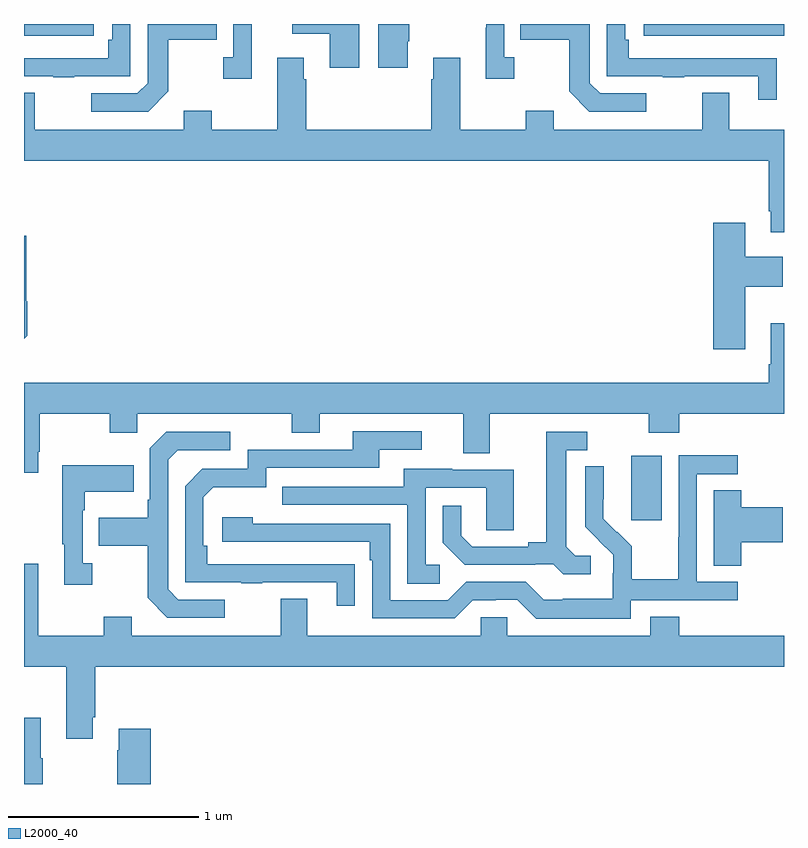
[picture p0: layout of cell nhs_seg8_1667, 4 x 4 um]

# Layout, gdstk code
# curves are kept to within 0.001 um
import gdstk
lib = gdstk.Library(unit=1e-6, precision=1e-09)
def R(c, l, rs):  # rectangles x0, y0, x1, y1
    for r in rs: c.add(gdstk.rectangle(r[:2], r[2:], *l))
def P(c, l, *ps):  # polygons
    for p in ps: c.add(gdstk.Polygon(p, *l))
L2000_40 = (2000, 40)

nhs_seg8_1667 = lib.new_cell('nhs_seg8_1667')
R(nhs_seg8_1667, L2000_40, [(220.196,1101.288,220.357,1101.628), (217,1103.838,217.366,1103.9), (220.263,1103.838,221,1103.9)])
P(nhs_seg8_1667, L2000_40, [(218.198,1103.9),(218.1,1103.9),(218.1,1103.726),(218.049,1103.726),(218.049,1103.613),(218.198,1103.613)],
  [(217.759,1103.545),(217.759,1103.818),(218.015,1103.818),(218.015,1103.9),(217.65,1103.9),(217.65,1103.589),(217.596,1103.535),(217.353,1103.535),(217.353,1103.439),(217.653,1103.439)],
  [(219.019,1103.809),(219.027,1103.809),(219.027,1103.9),(218.864,1103.9),(218.864,1103.67),(219.019,1103.67)],
  [(219.58,1103.726),(219.528,1103.726),(219.528,1103.9),(219.432,1103.9),(219.432,1103.879),(219.431,1103.879),(219.431,1103.613),(219.58,1103.613)],
  [(218.764,1103.9),(218.412,1103.9),(218.412,1103.849),(218.609,1103.849),(218.609,1103.67),(218.764,1103.67)],
  [(220.276,1103.535),(220.032,1103.535),(219.978,1103.589),(219.978,1103.9),(219.613,1103.9),(219.613,1103.818),(219.87,1103.818),(219.87,1103.545),(219.975,1103.439),(220.276,1103.439)],
  [(220.961,1103.72),(220.859,1103.72),(220.859,1103.721),(220.184,1103.721),(220.184,1103.818),(220.164,1103.818),(220.164,1103.9),(220.068,1103.9),(220.068,1103.625),(220.363,1103.625),(220.363,1103.62),(220.475,1103.62),(220.475,1103.625),(220.865,1103.625),(220.865,1103.502),(220.961,1103.502)],
  [(217.265,1103.625),(217.56,1103.625),(217.56,1103.9),(217.464,1103.9),(217.464,1103.818),(217.444,1103.818),(217.444,1103.721),(217,1103.721),(217,1103.625),(217.153,1103.625),(217.153,1103.62),(217.265,1103.62)],
  [(220.711,1103.539),(220.571,1103.539),(220.571,1103.344),(219.787,1103.344),(219.787,1103.443),(219.64,1103.443),(219.64,1103.344),(219.295,1103.344),(219.295,1103.722),(219.155,1103.722),(219.155,1103.609),(219.143,1103.609),(219.143,1103.344),(218.486,1103.344),(218.486,1103.609),(218.473,1103.609),(218.473,1103.722),(218.333,1103.722),(218.333,1103.344),(217.989,1103.344),(217.989,1103.443),(217.841,1103.443),(217.841,1103.344),(217.057,1103.344),(217.057,1103.539),(217,1103.539),(217,1103.18),(220.919,1103.18),(220.919,1102.915),(220.931,1102.915),(220.931,1102.803),(221,1102.803),(221,1103.344),(220.711,1103.344)],
  [(220.795,1102.517),(220.993,1102.517),(220.993,1102.675),(220.795,1102.675),(220.795,1102.855),(220.628,1102.855),(220.628,1102.188),(220.795,1102.188)],
  [(217.016,1102.26),(217.016,1102.442),(217.013,1102.442),(217.013,1102.785),(217,1102.785),(217,1102.244)],
  [(217.075,1101.649),(217.083,1101.649),(217.083,1101.848),(217.45,1101.848),(217.45,1101.749),(217.596,1101.749),(217.596,1101.848),(218.41,1101.848),(218.41,1101.749),(218.557,1101.749),(218.557,1101.848),(219.311,1101.848),(219.311,1101.64),(219.451,1101.64),(219.451,1101.848),(220.288,1101.848),(220.288,1101.749),(220.448,1101.749),(220.448,1101.848),(221,1101.848),(221,1102.324),(220.931,1102.324),(220.931,1102.108),(220.919,1102.108),(220.919,1102.012),(217,1102.012),(217,1101.537),(217.075,1101.537)],
  [(218.741,1101.056),(217.964,1101.057),(217.964,1101.154),(217.944,1101.154),(217.944,1101.408),(217.997,1101.461),(218.274,1101.461),(218.274,1101.564),(218.869,1101.564),(218.869,1101.66),(219.094,1101.66),(219.094,1101.756),(218.729,1101.756),(218.729,1101.66),(218.178,1101.66),(218.178,1101.558),(217.938,1101.558),(217.848,1101.468),(217.848,1100.961),(218.143,1100.961),(218.143,1100.956),(218.255,1100.956),(218.255,1100.961),(218.645,1100.961),(218.645,1100.838),(218.741,1100.838)],
  [(219.982,1101.102),(219.9,1101.102),(219.853,1101.149),(219.853,1101.657),(219.964,1101.657),(219.964,1101.753),(219.749,1101.753),(219.749,1101.173),(219.653,1101.173),(219.653,1101.15),(219.358,1101.15),(219.301,1101.207),(219.301,1101.364),(219.204,1101.364),(219.204,1101.17),(219.32,1101.054),(219.692,1101.054),(219.692,1101.057),(219.786,1101.057),(219.838,1101.005),(219.982,1101.005)],
  [(218.056,1100.871),(217.812,1100.871),(217.758,1100.925),(217.758,1101.606),(217.809,1101.657),(218.086,1101.657),(218.086,1101.753),(217.749,1101.753),(217.662,1101.666),(217.662,1101.397),(217.65,1101.397),(217.65,1101.301),(217.393,1101.301),(217.393,1101.154),(217.65,1101.154),(217.65,1100.881),(217.755,1100.775),(218.056,1100.775)],
  [(220.194,1100.868),(220.756,1100.868),(220.756,1100.964),(220.542,1100.964),(220.542,1101.531),(220.756,1101.531),(220.756,1101.63),(220.446,1101.63),(220.446,1101.2),(220.444,1101.2),(220.444,1100.977),(220.199,1100.977),(220.199,1101.151),(220.122,1101.228),(220.119,1101.225),(220.049,1101.296),(220.049,1101.4),(220.051,1101.4),(220.051,1101.572),(219.954,1101.572),(219.954,1101.254),(220.1,1101.106),(220.1,1101.009),(220.098,1101.009),(220.098,1100.875),(219.835,1100.875),(219.835,1100.871),(219.735,1100.871),(219.642,1100.964),(219.327,1100.964),(219.231,1100.868),(218.928,1100.868),(218.928,1101.27),(218.204,1101.27),(218.204,1101.304),(218.043,1101.304),(218.043,1101.174),(218.819,1101.174),(218.819,1101.077),(218.832,1101.077),(218.832,1100.772),(219.267,1100.772),(219.363,1100.868),(219.482,1100.868),(219.482,1100.871),(219.597,1100.871),(219.697,1100.771),(220.194,1100.771)],
  [(217.36,1101.062),(217.308,1101.062),(217.308,1101.341),(217.321,1101.341),(217.321,1101.437),(217.577,1101.437),(217.577,1101.577),(217.2,1101.577),(217.2,1101.161),(217.211,1101.161),(217.211,1100.949),(217.36,1100.949)],
  [(219.187,1101.054),(219.114,1101.054),(219.114,1101.459),(219.432,1101.459),(219.432,1101.235),(219.577,1101.235),(219.577,1101.555),(219.253,1101.555),(219.253,1101.559),(218.999,1101.559),(218.999,1101.465),(218.359,1101.465),(218.359,1101.369),(219.018,1101.369),(219.018,1100.953),(219.187,1100.953)],
  [(220.775,1101.173),(220.993,1101.173),(220.993,1101.356),(220.775,1101.356),(220.775,1101.446),(220.631,1101.446),(220.631,1101.049),(220.775,1101.049)],
  [(217.363,1100.251),(217.376,1100.251),(217.376,1100.516),(221,1100.516),(221,1100.68),(220.448,1100.68),(220.448,1100.779),(220.295,1100.779),(220.295,1100.68),(219.543,1100.68),(219.543,1100.778),(219.405,1100.778),(219.405,1100.68),(218.491,1100.68),(218.491,1100.875),(218.351,1100.875),(218.351,1100.68),(217.567,1100.68),(217.567,1100.779),(217.42,1100.779),(217.42,1100.68),(217.075,1100.68),(217.075,1101.058),(217,1101.058),(217,1100.516),(217.223,1100.516),(217.223,1100.139),(217.363,1100.139)],
  [(217.099,1100.035),(217.087,1100.035),(217.087,1100.248),(217,1100.248),(217,1099.9),(217.099,1099.9)],
  [(217.667,1100.191),(217.499,1100.191),(217.499,1100.078),(217.492,1100.078),(217.492,1099.9),(217.667,1099.9)])

lib.write_gds('nhs_seg8_1667.gds')
